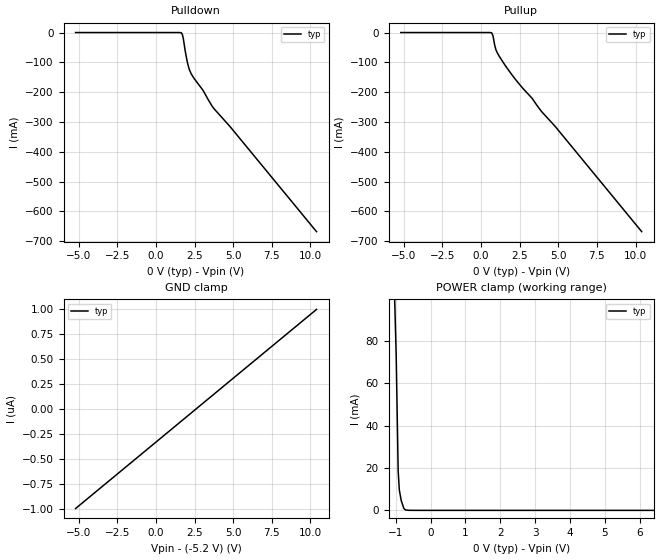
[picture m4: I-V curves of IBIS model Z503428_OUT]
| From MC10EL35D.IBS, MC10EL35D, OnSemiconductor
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| (C) COPYRIGHT 1993-2000
| MENTOR GRAPHICS CORPORATION
| ICX STANDARD LIBRARY, ICX PROJECT MODELING,
| ICX CUSTOM MODELING, ICX VENDOR MODEL
| ALL RIGHTS RESERVED.
| THE FOLLOWING ARE TRADEMARKS OR SERVICE MARKS OF
| MENTOR GRAPHICS CORPORATION:ICX (R), ICX STANDARD
| LIBRARY(R), ICX PROJECT MODELING(R), ICX CUSTOM
| MODELING(R), qualityIBIS(TM), MODELVIEWER(TM),
| AND MODELEDITOR(TM)
| ALL COPIES OF SOFTWARE, INCLUDING BUT NOT LIMITED TO
| ANY MODIFICATIONS, ENHANCEMENTS OR DERIVATIVE WORKS,
| MUST CONTAIN ALL MENTOR GRAPHICS CORPORATION'S
| NOTICES AND LEGENDS, INCLUDING THOSE EMBEDDED IN
| SOFTWARE AND THOSE AFFIXED TO SOFTWARE MEDIUM
| AND CONTAINER, AS RECEIVED FROM MENTOR GRAPHICS
| CORPORATION.
| Model Application Version 1.89 2/18/99.
[Model] Z503428_OUT
Model_type Output_ECL
Vref=-2.000V
Rref=50.00ohms
Cref=0.000F
Vmeas=-1.305V
C_comp 8.000pF NA NA
| variable typ   min   max
[Voltage Range] -5.200V NA NA
[POWER Clamp Reference] 0.000V NA NA
[Pullup Reference] 0.000V NA NA
[Pulldown Reference] 0.000V NA NA
[GND Clamp Reference] -5.200V NA NA
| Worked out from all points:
|   POWER clamp passes 1 mA (typ) near -0.77 V on its own axis
[GND Clamp]
-5.2V     -1uA       NA         NA
10.4V     1uA        NA         NA
[Pulldown]
-5.2V     119uA      NA         NA
1.662V    -1.676mA   NA         NA
1.767V    -17.28mA   NA         NA
1.895V    -60.48mA   NA         NA
2.032V    -98.71mA   NA         NA
2.149V    -121.5mA   NA         NA
2.253V    -134.9mA   NA         NA
2.493V    -155.4mA   NA         NA
3.052V    -193.8mA   NA         NA
3.648V    -247.5mA   NA         NA
4.794V    -315.1mA   NA         NA
10.4V     -668.2mA   NA         NA
[Pullup]
-5.2V     72.74uA    NA         NA
702.7mV   -2.267mA   NA         NA
775mV     -11.8mA    NA         NA
878.9mV   -41.42mA   NA         NA
962.1mV   -57.89mA   NA         NA
1.031V    -66.01mA   NA         NA
1.563V    -110.5mA   NA         NA
2.025V    -143.7mA   NA         NA
3.301V    -220.3mA   NA         NA
3.926V    -265.5mA   NA         NA
4.795V    -314.6mA   NA         NA
10.4V     -667.7mA   NA         NA
[POWER Clamp]
-5.2V     1.596A     NA         NA
-1.06V    118.2mA    NA         NA
-986.4mV  73.68mA    NA         NA
-928.9mV  18.61mA    NA         NA
-895.7mV  9.623mA    NA         NA
-843mV    4.735mA    NA         NA
-768.8mV  1.033mA    NA         NA
-707.6mV  159.6uA    NA         NA
10.4V     0A         NA         NA
[Ramp]
| variable typ min max
dV/dt_r 533.3m/619.3p NA NA
dV/dt_f 533.3m/379.0p NA NA
R_load = 50.00Ohms
